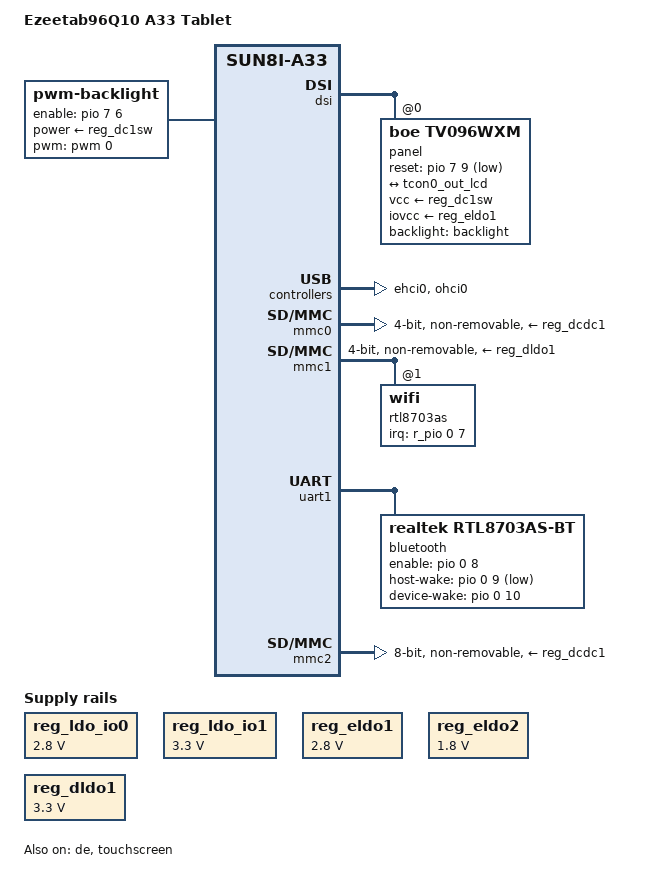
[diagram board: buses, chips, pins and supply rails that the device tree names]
/*
 * Copyright 2015 Hans de Goede <hdegoede@redhat.com>
 *
 * This file is dual-licensed: you can use it either under the terms
 * of the GPL or the X11 license, at your option. Note that this dual
 * licensing only applies to this file, and not this project as a
 * whole.
 *
 *  a) This file is free software; you can redistribute it and/or
 *     modify it under the terms of the GNU General Public License as
 *     published by the Free Software Foundation; either version 2 of the
 *     License, or (at your option) any later version.
 *
 *     This file is distributed in the hope that it will be useful,
 *     but WITHOUT ANY WARRANTY; without even the implied warranty of
 *     MERCHANTABILITY or FITNESS FOR A PARTICULAR PURPOSE.  See the
 *     GNU General Public License for more details.
 *
 * Or, alternatively,
 *
 *  b) Permission is hereby granted, free of charge, to any person
 *     obtaining a copy of this software and associated documentation
 *     files (the "Software"), to deal in the Software without
 *     restriction, including without limitation the rights to use,
 *     copy, modify, merge, publish, distribute, sublicense, and/or
 *     sell copies of the Software, and to permit persons to whom the
 *     Software is furnished to do so, subject to the following
 *     conditions:
 *
 *     The above copyright notice and this permission notice shall be
 *     included in all copies or substantial portions of the Software.
 *
 *     THE SOFTWARE IS PROVIDED "AS IS", WITHOUT WARRANTY OF ANY KIND,
 *     EXPRESS OR IMPLIED, INCLUDING BUT NOT LIMITED TO THE WARRANTIES
 *     OF MERCHANTABILITY, FITNESS FOR A PARTICULAR PURPOSE AND
 *     NONINFRINGEMENT. IN NO EVENT SHALL THE AUTHORS OR COPYRIGHT
 *     HOLDERS BE LIABLE FOR ANY CLAIM, DAMAGES OR OTHER LIABILITY,
 *     WHETHER IN AN ACTION OF CONTRACT, TORT OR OTHERWISE, ARISING
 *     FROM, OUT OF OR IN CONNECTION WITH THE SOFTWARE OR THE USE OR
 *     OTHER DEALINGS IN THE SOFTWARE.
 */

/dts-v1/;
#include "sun8i-a33.dtsi"
#include "sun8i-reference-design-tablet.dtsi"

/ {
	model = "Ezeetab96Q10 A33 Tablet";
	compatible = "allwinner,Ezeetab96Q10-a33", "allwinner,sun8i-a33";

	aliases {
		serial0 = &r_uart;
		/* Make u-boot set mac-address for rtl8703as (no eeprom) */
		ethernet0 = &rtl8703as;
	};

	wifi_pwrseq: pwrseq {
		compatible = "mmc-pwrseq-simple";
		pinctrl-names = "default";
		pinctrl-0 = <&wifi_pwrseq_pin_ezeetab>;
		post-power-on-delay-ms = <200>;
	};

	backlight: backlight {
		status = "okay";
		compatible = "pwm-backlight";
		pwms = <&pwm 0 50000 PWM_POLARITY_INVERTED>;
		brightness-levels = <0 1 2 3 4 5 6 7 8 9 10 >;
		default-brightness-level = <8>;
		enable-gpios = <&pio 7 6 GPIO_ACTIVE_HIGH>; // PH6
		power-supply = <&reg_dc1sw>;
	};
};

&dsi {
	status = "okay";
	vcc-dsi-supply = <&reg_dc1sw>;

	panel@0 {
		status = "okay";
		compatible = "boe,tv096wxm";
		reg = <0>;
		vcc-supply = <&reg_dc1sw>;
		iovcc-supply = <&reg_eldo1>;
		reset-gpios = <&pio 7 9 GPIO_ACTIVE_LOW>; // PH09
		backlight = <&backlight>;

		port {
			panel_input: endpoint {
				remote-endpoint = <&tcon0_out_lcd>;
			};
		};
	};
};

&de {
	status = "okay";
};

&ehci0 {
	status = "okay";
};

&ohci0 {
	status = "okay";
};

// It is already in the sun8i tablet reference design
&touchscreen {
	compatible = "silead,gsl3670";
	firmware-name = "gsl3670-polaroid-mid2809pxe04.fw";
	touchscreen-size-x = <1280>;
	touchscreen-size-y = <800>;
	touchscreen-inverted-x;
	touchscreen-swapped-x-y;
	interrupt-parent = <&pio>;
	interrupts = <1 5 IRQ_TYPE_EDGE_FALLING>; // PB05: port B (1), pin 5
	reset-gpios = <&pio 6 10 GPIO_ACTIVE_LOW>; // PG10: port G (6), pin 10
	vcc-supply = <&reg_dcdc1>;
	iovcc-supply = <&reg_ldo_io1>;
	status = "okay";
};

&mmc0 {
	vmmc-supply = <&reg_dcdc1>;
	bus-width = <4>;
	// TODO probe at the oscilloscope
	//cd-gpios = <&pio 1 4 GPIO_ACTIVE_LOW>; /* PB4 needs a pull up */
	non-removable;
	status = "okay";
};

// Disable otherwise the gpio ldo won't output anything
&axp_gpio {
	status = "disabled";
};

&reg_ldo_io0 {
	regulator-always-on;
	regulator-min-microvolt = <2800000>;
	regulator-max-microvolt = <2800000>;
	regulator-name = "vcc-2V8-csi-avdd";
 	status = "okay";
};

&reg_ldo_io1 {
	regulator-always-on;
	regulator-min-microvolt = <3300000>;
	regulator-max-microvolt = <3300000>;
	regulator-name = "vcc-3V3-touchscreen";
 	status = "okay";
};

&reg_eldo1 {
	regulator-always-on;
	regulator-min-microvolt = <2800000>;
	regulator-max-microvolt = <2800000>;
	regulator-name = "vcc-2V8-lcd";
 	//status = "okay";
};

&reg_eldo2 {
	regulator-always-on;
	regulator-min-microvolt = <1800000>;
	regulator-max-microvolt = <1800000>;
	regulator-name = "vcc-1V8-csi-dvdd";
 	status = "okay";
};

&reg_dldo1 {
	regulator-always-on;
	regulator-min-microvolt = <3300000>;
	regulator-max-microvolt = <3300000>;
	regulator-name = "vcc-3V3-Wifi";
 	status = "okay";
};

&pio {
    vcc-pb-supply = <&reg_dcdc1>;
    vcc-pf-supply = <&reg_dcdc1>;
    vcc-pg-supply = <&reg_dcdc1>;
	vcc-ph-supply = <&reg_dcdc1>;
	vcc-pl-supply = <&reg_dcdc1>;
   /*
	mmc0_pins: mmc0-pins {
		pins = "PF0", "PF1", "PF2",
				"PF3", "PF4", "PF5";
		function = "mmc0";
		drive-strength = <30>;
		bias-pull-up;
	};

   mmc0_cd_pin: mmc0-cd-pin {
    pins = "PB4";
    function = "cd-gpios";
    bias-pull-up;
   };
*/
};

/**
PL4:  wl_reg_on
PL6:  rf chip_en
PL7:  wl_host_wake
PL8:  bt_rst
PL9:  bt_wake
PL10: bt_host_wake
*/
&r_pio {
	wifi_pwrseq_pin_ezeetab: wifi-pwrseq-pins {
		pins = "PL4", "PL6", "PL7", "PL8", "PL9", "PL10";
		function = "gpio_in";
		bias-pull-up;
	};
};

&mmc1 {
	pinctrl-names = "default";
	pinctrl-0 = <&mmc1_pg_pins>;
	vmmc-supply = <&reg_dldo1>;
	mmc-pwrseq = <&wifi_pwrseq>;
	bus-width = <4>;
	non-removable;
	status = "okay";

	rtl8703as: wifi@1 {
		reg = <1>;
		interrupt-parent = <&r_pio>;
		interrupts = <0 7 IRQ_TYPE_LEVEL_LOW>; // PL7
		interrupt-names = "host-wake";
	};
};

/*
	rtl8703as: wifi@1 {
		reg = <1>;
	};
	rtl8703as: wifi@1 {
		reg = <1>;
		interrupt-parent = <&r_pio>;
		interrupts = <0 7 IRQ_TYPE_LEVEL_LOW>; // PL7
		interrupt-names = "host-wake";
	};
*/

&uart1 {
	pinctrl-names = "default";
    pinctrl-0 = <&uart1_pg_pins>, <&uart1_cts_rts_pg_pins>;
    uart-has-rtscts;
	status = "okay";

    bluetooth {
        compatible = "realtek,rtl8703as-bt";
        enable-gpios = <&pio 0 8 GPIO_ACTIVE_HIGH>;       // PL08
        host-wake-gpios = <&pio 0 9 GPIO_ACTIVE_LOW>;     // PL09
        device-wake-gpios = <&pio 0 10 GPIO_ACTIVE_HIGH>; // PL10
	};
};

&mmc2 {
	pinctrl-names = "default";
	pinctrl-0 = <&mmc2_8bit_pins>;
	vmmc-supply = <&reg_dcdc1>;
	bus-width = <8>;
	non-removable;
	cap-mmc-hw-reset;
	status = "okay";
};

&mmc2_8bit_pins {
	/* Increase drive strength for DDR modes */
	drive-strength = <40>;
};

&tcon0_out {
	tcon0_out_lcd: endpoint@0 {
		reg = <0>;
		remote-endpoint = <&panel_input>;
	};
};

&sound {
	status = "enabled";
};

/*
&soc {

	dai: dai@1c22c00 {
		status = "enabled";
	};

	codec: codec@1c22e00 {
		status = "enabled";
	};
};
*/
